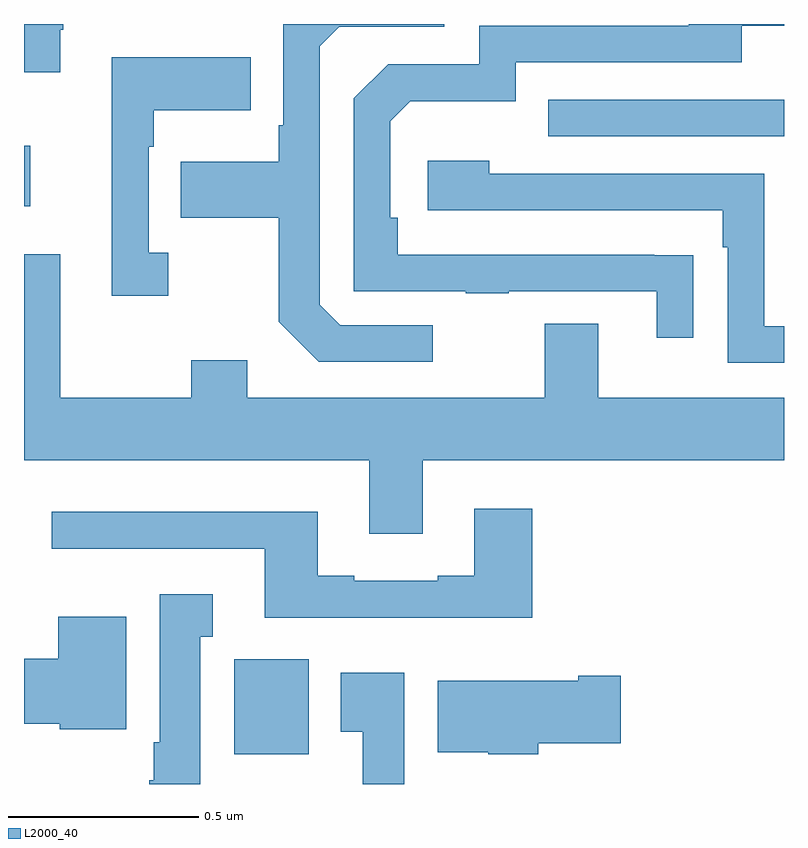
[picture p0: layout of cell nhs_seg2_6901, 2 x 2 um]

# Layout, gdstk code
import gdstk
lib = gdstk.Library(unit=1e-6, precision=1e-09)
def R(c, l, rs):  # rectangles x0, y0, x1, y1
    for r in rs: c.add(gdstk.rectangle(r[:2], r[2:], *l))
def P(c, l, *ps):  # polygons
    for p in ps: c.add(gdstk.Polygon(p, *l))
L2000_40 = (2000, 40)

nhs_seg2_6901 = lib.new_cell('nhs_seg2_6901')
R(nhs_seg2_6901, L2000_40, [(197.553,630.878,197.749,631.128), (197,632.321,197.017,632.479), (198.379,632.505,199,632.601)])
P(nhs_seg2_6901, L2000_40, [(197,632.673),(197.095,632.673),(197.095,632.785),(197.103,632.785),(197.103,632.8),(197,632.8)],
  [(198.076,632.007),(197.832,632.007),(197.778,632.061),(197.778,632.742),(197.829,632.793),(198.106,632.793),(198.106,632.8),(197.682,632.8),(197.682,632.533),(197.67,632.533),(197.67,632.437),(197.413,632.437),(197.413,632.29),(197.67,632.29),(197.67,632.017),(197.775,631.911),(198.076,631.911)],
  [(198.761,632.192),(198.659,632.192),(198.659,632.193),(197.984,632.193),(197.984,632.29),(197.964,632.29),(197.964,632.544),(198.017,632.597),(198.294,632.597),(198.294,632.7),(198.889,632.7),(198.889,632.796),(199,632.796),(199,632.8),(198.749,632.8),(198.749,632.796),(198.198,632.796),(198.198,632.694),(197.958,632.694),(197.868,632.604),(197.868,632.097),(198.163,632.097),(198.163,632.092),(198.275,632.092),(198.275,632.097),(198.665,632.097),(198.665,631.974),(198.761,631.974)],
  [(197.38,632.198),(197.328,632.198),(197.328,632.477),(197.341,632.477),(197.341,632.573),(197.597,632.573),(197.597,632.713),(197.231,632.713),(197.231,632.085),(197.38,632.085)],
  [(199,632.004),(198.948,632.004),(198.948,632.406),(198.224,632.406),(198.224,632.44),(198.063,632.44),(198.063,632.31),(198.839,632.31),(198.839,632.213),(198.852,632.213),(198.852,631.908),(199,631.908)],
  [(198.049,631.652),(199,631.652),(199,631.816),(198.511,631.816),(198.511,632.011),(198.371,632.011),(198.371,631.816),(197.587,631.816),(197.587,631.915),(197.44,631.915),(197.44,631.816),(197.095,631.816),(197.095,632.194),(197,632.194),(197,631.652),(197.909,631.652),(197.909,631.458),(198.049,631.458)],
  [(198.338,631.525),(198.185,631.525),(198.185,631.348),(198.089,631.348),(198.089,631.335),(197.869,631.335),(197.869,631.348),(197.773,631.348),(197.773,631.516),(197.073,631.516),(197.073,631.419),(197.633,631.419),(197.633,631.238),(198.338,631.238)],
  [(197.464,631.187),(197.497,631.187),(197.497,631.3),(197.357,631.3),(197.357,630.91),(197.342,630.91),(197.342,630.81),(197.33,630.81),(197.33,630.8),(197.464,630.8)],
  [(197.269,631.24),(197.09,631.24),(197.09,631.13),(197,631.13),(197,630.958),(197.094,630.958),(197.094,630.944),(197.269,630.944)],
  [(198.001,631.093),(197.834,631.093),(197.834,630.937),(197.891,630.937),(197.891,630.8),(198.001,630.8)],
  [(198.353,630.907),(198.571,630.907),(198.571,631.085),(198.458,631.085),(198.458,631.072),(198.089,631.072),(198.089,630.884),(198.222,630.884),(198.222,630.878),(198.353,630.878)])

lib.write_gds('nhs_seg2_6901.gds')
